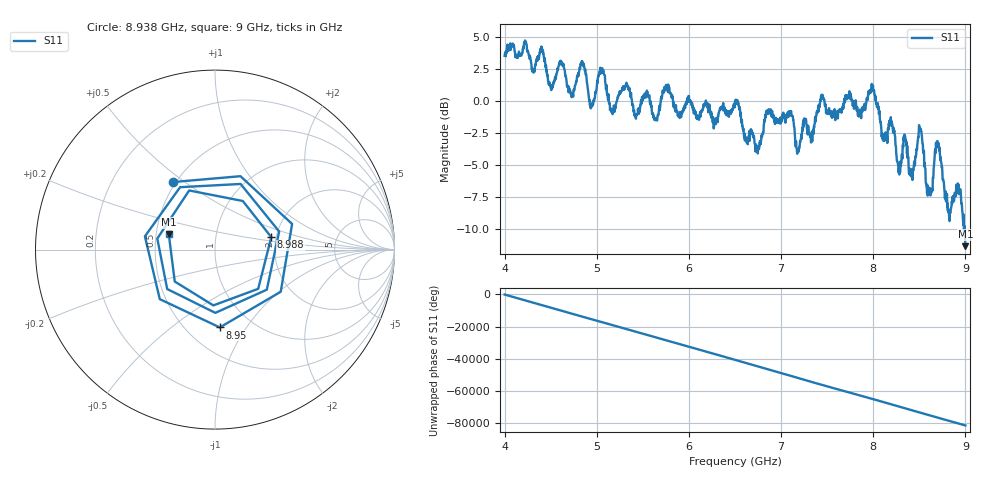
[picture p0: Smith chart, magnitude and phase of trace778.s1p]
! Created with skrf 1.8.0 (http://scikit-rf.org).
# Hz S RI R 50.0
!freq ReS11 ImS11
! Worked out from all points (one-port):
!   1601 points, 4 GHz to 9 GHz, reference 50 ohm
!   lowest |S11| = -11.3 dB at 9 GHz (marker M1), VSWR 1.74, Z = 29.2 + j5.31 ohm
!   |S11| at or under -10 dB: 8.983711 GHz to 8.98589 GHz (2.179 MHz wide, 0.0243 % of centre); 8.992876 GHz to end of sweep
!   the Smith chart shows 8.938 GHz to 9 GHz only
!   S11 on the Smith chart (normalised r, x): 8.938 GHz: 0.48, +0.45; 8.95 GHz: 0.71, -0.76; 8.988 GHz: 1.88, +0.29; 9 GHz: 0.58, +0.11
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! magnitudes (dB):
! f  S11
! 4 GHz  3.6
! 4.503 GHz  1.0
! 4.625 GHz  2.9
! 4.731 GHz  0.5
! 4.85 GHz  2.9
! 4.941 GHz  -0.4
! 5.047 GHz  2.2
! 5.156 GHz  -0.7
! 5.25 GHz  0.8
! 5.875 GHz  -0.8
! 6.5 GHz  0.0
! 6.741 GHz  -3.8
! 6.862 GHz  -0.9
! 7.125 GHz  -1.2
! 7.184 GHz  -3.8
! 7.444 GHz  0.3
! 7.75 GHz  0.5
! 7.991 GHz  0.9
! 8.275 GHz  -5.6
! 8.375 GHz  -4.2
! 8.509 GHz  -2.3
! 8.603 GHz  -7.1
! 8.694 GHz  -3.1
! 8.812 GHz  -8.4
! 8.938 GHz  -7.1
! 8.95 GHz  -7.2
! 8.988 GHz  -9.9
! 9 GHz  -11.3
